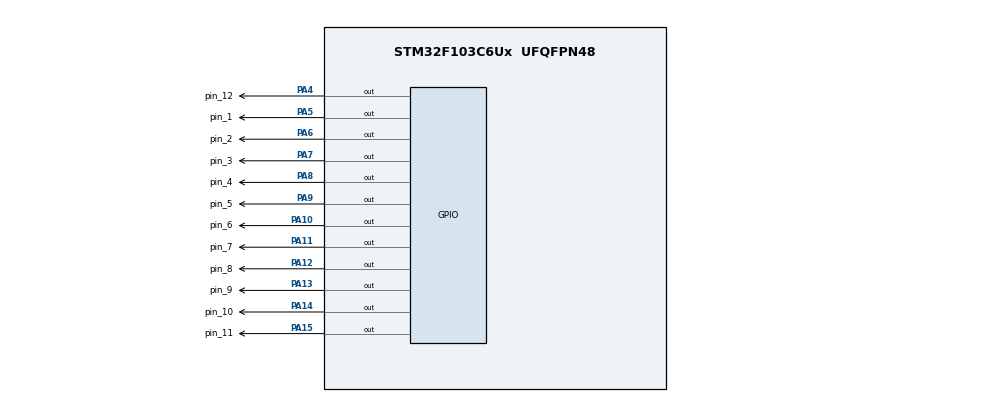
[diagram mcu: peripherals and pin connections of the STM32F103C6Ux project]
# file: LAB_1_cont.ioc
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Mcu.Family=STM32F1
Mcu.Name=STM32F103C6Ux
Mcu.Package=UFQFPN48
NVIC.PriorityGroup=NVIC_PRIORITYGROUP_4
PA10.GPIO_Label=pin_6
PA10.Signal=GPIO_Output
PA11.GPIO_Label=pin_7
PA11.Signal=GPIO_Output
PA12.GPIO_Label=pin_8
PA12.Signal=GPIO_Output
PA13.GPIO_Label=pin_9
PA13.Signal=GPIO_Output
PA14.GPIO_Label=pin_10
PA14.Signal=GPIO_Output
PA15.GPIO_Label=pin_11
PA15.Signal=GPIO_Output
PA4.GPIO_Label=pin_12
PA4.Signal=GPIO_Output
PA5.GPIO_Label=pin_1
PA5.Signal=GPIO_Output
PA6.GPIO_Label=pin_2
PA6.Signal=GPIO_Output
PA7.GPIO_Label=pin_3
PA7.Signal=GPIO_Output
PA8.GPIO_Label=pin_4
PA8.Signal=GPIO_Output
PA9.GPIO_Label=pin_5
PA9.Signal=GPIO_Output
ProjectManager.HeapSize=0x200
ProjectManager.StackSize=0x400
ProjectManager.TargetToolchain=STM32CubeIDE
RCC.APB1Freq_Value=8000000
RCC.APB2Freq_Value=8000000
board=custom

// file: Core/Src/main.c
/* USER CODE BEGIN Header */
/**
  ******************************************************************************
  * @file           : main.c
  * @brief          : Main program body
  ******************************************************************************
  * @attention
  *
  * Copyright (c) 2025 STMicroelectronics.
  * All rights reserved.
  *
  * This software is licensed under terms that can be found in the LICENSE file
  * in the root directory of this software component.
  * If no LICENSE file comes with this software, it is provided AS-IS.
  *
  ******************************************************************************
  */
/* USER CODE END Header */
#include "main.h"

void SystemClock_Config(void);
static void MX_GPIO_Init(void);

/* USER CODE BEGIN 0 */
void clearAllClock() {
	HAL_GPIO_WritePin(pin_12_GPIO_Port, pin_12_Pin, 0);
	HAL_GPIO_WritePin(pin_1_GPIO_Port, pin_1_Pin, 0);
	HAL_GPIO_WritePin(pin_2_GPIO_Port, pin_2_Pin, 0);
	HAL_GPIO_WritePin(pin_3_GPIO_Port, pin_3_Pin, 0);

	HAL_GPIO_WritePin(pin_4_GPIO_Port, pin_4_Pin, 0);
	HAL_GPIO_WritePin(pin_5_GPIO_Port, pin_5_Pin, 0);
	HAL_GPIO_WritePin(pin_6_GPIO_Port, pin_6_Pin, 0);
	HAL_GPIO_WritePin(pin_7_GPIO_Port, pin_7_Pin, 0);

	HAL_GPIO_WritePin(pin_8_GPIO_Port, pin_8_Pin, 0);
	HAL_GPIO_WritePin(pin_9_GPIO_Port, pin_9_Pin, 0);
	HAL_GPIO_WritePin(pin_10_GPIO_Port, pin_10_Pin, 0);
	HAL_GPIO_WritePin(pin_11_GPIO_Port, pin_11_Pin, 0);
}
void setNumberOnClock(int num) {
	switch (num) {
	case 0:
		HAL_GPIO_WritePin(pin_12_GPIO_Port, pin_12_Pin, 1);
		break;
	case 1:
		HAL_GPIO_WritePin(pin_1_GPIO_Port, pin_1_Pin, 1);
		break;
	case 2:
		HAL_GPIO_WritePin(pin_2_GPIO_Port, pin_2_Pin, 1);
		break;
	case 3:
		HAL_GPIO_WritePin(pin_3_GPIO_Port, pin_3_Pin, 1);
		break;
	case 4:
		HAL_GPIO_WritePin(pin_4_GPIO_Port, pin_4_Pin, 1);
		break;
	case 5:
		HAL_GPIO_WritePin(pin_5_GPIO_Port, pin_5_Pin, 1);
		break;
	case 6:
		HAL_GPIO_WritePin(pin_6_GPIO_Port, pin_6_Pin, 1);
		break;
	case 7:
		HAL_GPIO_WritePin(pin_7_GPIO_Port, pin_7_Pin, 1);
		break;
	case 8:
		HAL_GPIO_WritePin(pin_8_GPIO_Port, pin_8_Pin, 1);
		break;
	case 9:
		HAL_GPIO_WritePin(pin_9_GPIO_Port, pin_9_Pin, 1);
		break;
	case 10:
		HAL_GPIO_WritePin(pin_10_GPIO_Port, pin_10_Pin, 1);
		break;
	case 11:
		HAL_GPIO_WritePin(pin_11_GPIO_Port, pin_11_Pin, 1);
		break;
	default:								// For debug
		HAL_GPIO_WritePin(pin_3_GPIO_Port, pin_3_Pin, 1);
		HAL_GPIO_WritePin(pin_9_GPIO_Port, pin_9_Pin, 1);
	}
}
void clearNumberOnClock(int num) {
	switch (num) {
	case 0:
		HAL_GPIO_WritePin(pin_12_GPIO_Port, pin_12_Pin, 0);
		break;
	case 1:
		HAL_GPIO_WritePin(pin_1_GPIO_Port, pin_1_Pin, 0);
		break;
	case 2:
		HAL_GPIO_WritePin(pin_2_GPIO_Port, pin_2_Pin, 0);
		break;
	case 3:
		HAL_GPIO_WritePin(pin_3_GPIO_Port, pin_3_Pin, 0);
		break;
	case 4:
		HAL_GPIO_WritePin(pin_4_GPIO_Port, pin_4_Pin, 0);
		break;
	case 5:
		HAL_GPIO_WritePin(pin_5_GPIO_Port, pin_5_Pin, 0);
		break;
	case 6:
		HAL_GPIO_WritePin(pin_6_GPIO_Port, pin_6_Pin, 0);
		break;
	case 7:
		HAL_GPIO_WritePin(pin_7_GPIO_Port, pin_7_Pin, 0);
		break;
	case 8:
		HAL_GPIO_WritePin(pin_8_GPIO_Port, pin_8_Pin, 0);
		break;
	case 9:
		HAL_GPIO_WritePin(pin_9_GPIO_Port, pin_9_Pin, 0);
		break;
	case 10:
		HAL_GPIO_WritePin(pin_10_GPIO_Port, pin_10_Pin, 0);
		break;
	case 11:
		HAL_GPIO_WritePin(pin_11_GPIO_Port, pin_11_Pin, 0);
		break;
	default:								// For debug
		HAL_GPIO_WritePin(pin_12_GPIO_Port, pin_12_Pin, 1);
		HAL_GPIO_WritePin(pin_6_GPIO_Port, pin_6_Pin, 1);
	}
}
void ex6() {
	static uint8_t counter = 12;
	if (counter >= 12) {
		counter = 0;
		clearAllClock();
	}
	setNumberOnClock(counter++);
	HAL_Delay(1000);
}
void realTimeClock(int hour, int min, int sec) {
	static uint8_t init = 1;
	static int h;
	static int m;
	static int s;
	static int h_prev = -1;
	static int m_prev = -1;
	static int s_prev = -1;

	if (h_prev != -1) clearNumberOnClock(h_prev);
	if (m_prev != -1) clearNumberOnClock(m_prev);
	if (s_prev != -1) clearNumberOnClock(s_prev);

	if (init) {
		h = hour;
		m = min;
		s = sec;
		init = 0;
	}
	if (s == 60) {
		m++;
		s = 0;
	}
	if (m == 60) {
		h++;
		m = 0;
	}
	if (h == 12) h = 0;

	setNumberOnClock(h);
	setNumberOnClock(m / 5);
	setNumberOnClock(s / 5);

	h_prev = h;
	m_prev = m / 5;
	s_prev = s / 5;

	s++;
	HAL_Delay(1000);
}
void ex10() {
	realTimeClock(1, 50, 0);
}
/* USER CODE END 0 */

int main(void)
{

  /* MCU Configuration--------------------------------------------------------*/

  /* Reset of all peripherals, Initializes the Flash interface and the Systick. */
  HAL_Init();

  /* Configure the system clock */
  SystemClock_Config();

  /* Initialize all configured peripherals */
  MX_GPIO_Init();

  /* Infinite loop */
  /* USER CODE BEGIN WHILE */
  while (1)
  {
	  ex10();
    /* USER CODE END WHILE */

  }
}

void SystemClock_Config(void)
{
  RCC_OscInitTypeDef RCC_OscInitStruct = {0};
  RCC_ClkInitTypeDef RCC_ClkInitStruct = {0};

  /** Initializes the RCC Oscillators according to the specified parameters
  * in the RCC_OscInitTypeDef structure.
  */
  RCC_OscInitStruct.OscillatorType = RCC_OSCILLATORTYPE_HSI;
  RCC_OscInitStruct.HSIState = RCC_HSI_ON;
  RCC_OscInitStruct.HSICalibrationValue = RCC_HSICALIBRATION_DEFAULT;
  RCC_OscInitStruct.PLL.PLLState = RCC_PLL_NONE;
  if (HAL_RCC_OscConfig(&RCC_OscInitStruct) != HAL_OK)
  {
    Error_Handler();
  }

  /** Initializes the CPU, AHB and APB buses clocks
  */
  RCC_ClkInitStruct.ClockType = RCC_CLOCKTYPE_HCLK|RCC_CLOCKTYPE_SYSCLK
                              |RCC_CLOCKTYPE_PCLK1|RCC_CLOCKTYPE_PCLK2;
  RCC_ClkInitStruct.SYSCLKSource = RCC_SYSCLKSOURCE_HSI;
  RCC_ClkInitStruct.AHBCLKDivider = RCC_SYSCLK_DIV1;
  RCC_ClkInitStruct.APB1CLKDivider = RCC_HCLK_DIV1;
  RCC_ClkInitStruct.APB2CLKDivider = RCC_HCLK_DIV1;

  if (HAL_RCC_ClockConfig(&RCC_ClkInitStruct, FLASH_LATENCY_0) != HAL_OK)
  {
    Error_Handler();
  }
}

static void MX_GPIO_Init(void)
{
  GPIO_InitTypeDef GPIO_InitStruct = {0};

  /* GPIO Ports Clock Enable */
  __HAL_RCC_GPIOA_CLK_ENABLE();

  /*Configure GPIO pin Output Level */
  HAL_GPIO_WritePin(GPIOA, pin_12_Pin|pin_1_Pin|pin_2_Pin|pin_3_Pin
                          |pin_4_Pin|pin_5_Pin|pin_6_Pin|pin_7_Pin
                          |pin_8_Pin|pin_9_Pin|pin_10_Pin|pin_11_Pin, GPIO_PIN_RESET);

  /*Configure GPIO pins : pin_12_Pin pin_1_Pin pin_2_Pin pin_3_Pin
                           pin_4_Pin pin_5_Pin pin_6_Pin pin_7_Pin
                           pin_8_Pin pin_9_Pin pin_10_Pin pin_11_Pin */
  GPIO_InitStruct.Pin = pin_12_Pin|pin_1_Pin|pin_2_Pin|pin_3_Pin
                          |pin_4_Pin|pin_5_Pin|pin_6_Pin|pin_7_Pin
                          |pin_8_Pin|pin_9_Pin|pin_10_Pin|pin_11_Pin;
  GPIO_InitStruct.Mode = GPIO_MODE_OUTPUT_PP;
  GPIO_InitStruct.Pull = GPIO_NOPULL;
  GPIO_InitStruct.Speed = GPIO_SPEED_FREQ_LOW;
  HAL_GPIO_Init(GPIOA, &GPIO_InitStruct);

}

void Error_Handler(void)
{
  __disable_irq();
  while (1)
  {
  }
}
